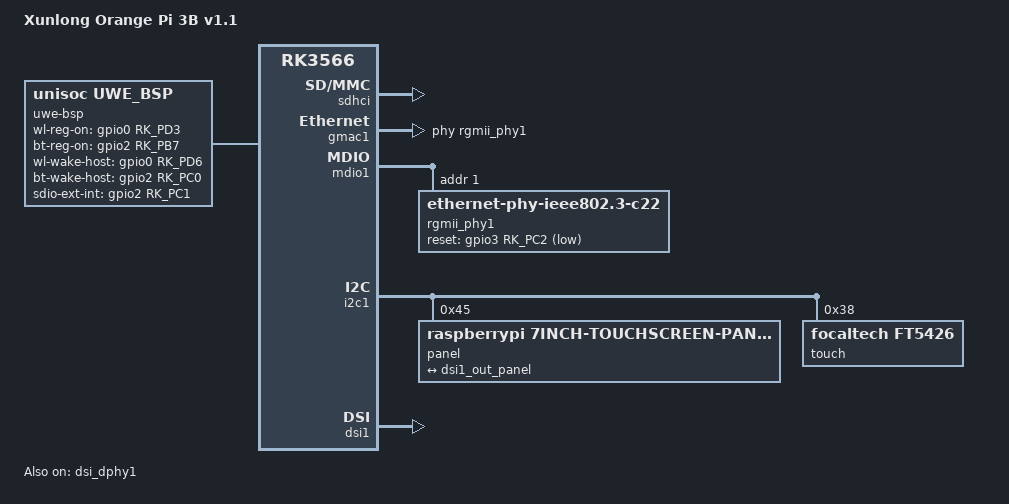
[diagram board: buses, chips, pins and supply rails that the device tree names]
// SPDX-License-Identifier: (GPL-2.0+ OR MIT)

/dts-v1/;

#include "rk3566-orangepi-3b.dtsi"

/ {
	model = "Xunlong Orange Pi 3B v1.1";
	compatible = "xunlong,orangepi-3b-v1.1", "xunlong,orangepi-3b", "rockchip,rk3566";

	sprd-mtty {
		compatible = "sprd,mtty";
		sprd,name = "ttyBT";
	};

	uwe-bsp {
		compatible = "unisoc,uwe_bsp";
		wl-reg-on = <&gpio0 RK_PD3 GPIO_ACTIVE_HIGH>;
		bt-reg-on = <&gpio2 RK_PB7 GPIO_ACTIVE_HIGH>;
		wl-wake-host-gpio = <&gpio0 RK_PD6 GPIO_ACTIVE_HIGH>;
		bt-wake-host-gpio = <&gpio2 RK_PC0 GPIO_ACTIVE_HIGH>;
		sdio-ext-int-gpio = <&gpio2 RK_PC1 GPIO_ACTIVE_HIGH>;
		data-irq;
		blksz-512;
		keep-power-on;
	};
};

&sdhci {
	cap-sd-highspeed;
	max-frequency = <150000000>;
	status = "okay";
};

&pmu_io_domains {
	vccio5-supply = <&vcc_3v3>;
};

&gmac1 {
	phy-handle = <&rgmii_phy1>;
	status = "okay";
};

&mdio1 {
	rgmii_phy1: ethernet-phy@1 {
		compatible = "ethernet-phy-ieee802.3-c22";
		reg = <1>;
		reset-assert-us = <20000>;
		reset-deassert-us = <50000>;
		reset-gpios = <&gpio3 RK_PC2 GPIO_ACTIVE_LOW>;
	};
};

/*
 * Raspberry Pi 7" touchscreen on the 30-pin MIPI DSI connector (LCD1).
 * The connector exposes DSI1, I2C1 and 3.3V only; the touch controller has
 * no interrupt line, so the FT5426 driver polls over I2C.
 */
&i2c1 {
	status = "okay";

	panel@45 {
		compatible = "raspberrypi,7inch-touchscreen-panel";
		reg = <0x45>;

		port {
			panel_in_dsi1: endpoint {
				remote-endpoint = <&dsi1_out_panel>;
			};
		};
	};

	touch@38 {
		compatible = "focaltech,ft5426";
		reg = <0x38>;

		/* 800x480; orientation must match the panel scan direction. */
		touchscreen-size-x = <800>;
		touchscreen-size-y = <480>;
		touchscreen-inverted-x;
		touchscreen-inverted-y;
	};
};

&dsi1 {
	status = "okay";
};

&dsi1_in {
	dsi1_in_vp1: endpoint {
		remote-endpoint = <&vp1_out_dsi1>;
	};
};

&dsi1_out {
	dsi1_out_panel: endpoint {
		remote-endpoint = <&panel_in_dsi1>;
	};
};

&dsi_dphy1 {
	status = "okay";
};

&vp1 {
	vp1_out_dsi1: endpoint@ROCKCHIP_VOP2_EP_MIPI1 {
		reg = <ROCKCHIP_VOP2_EP_MIPI1>;
		remote-endpoint = <&dsi1_in_vp1>;
	};
};
